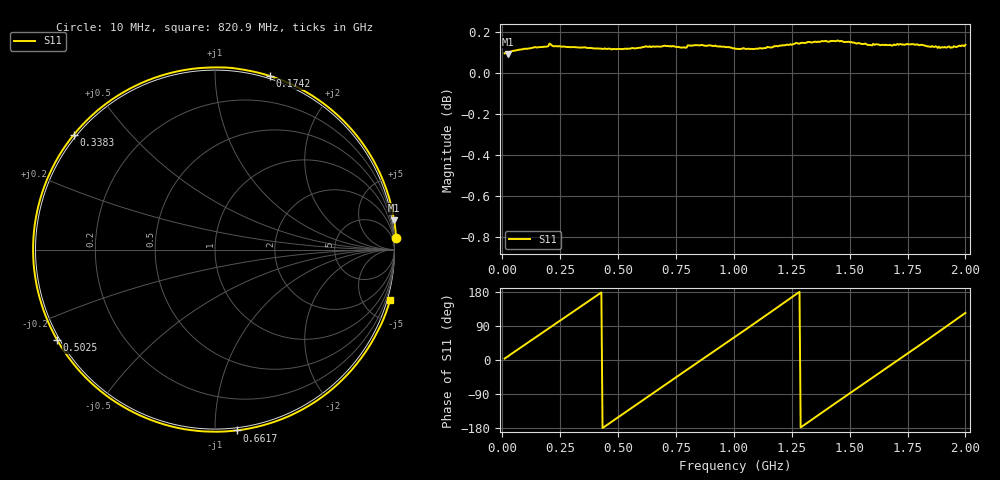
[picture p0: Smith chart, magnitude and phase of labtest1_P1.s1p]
!Created with skrf (http://scikit-rf.org).
# Hz S RI R 50.0
!freq ReS11 ImS11
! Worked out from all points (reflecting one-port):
!   401 points, 10 MHz to 2 GHz, reference 50 ohm
!   lowest |S11| = 0.1 dB at 24.93 MHz (marker M1)
!   phase of S11 starts at 4 deg and turns +840 deg over the sweep
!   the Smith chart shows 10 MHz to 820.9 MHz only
!   S11 on the Smith chart (normalised r, x): 10 MHz: -5, +29; 174.2 MHz: -0.02, +1.37; 338.4 MHz: -0.01, +0.36; 502.5 MHz: -0.01, -0.27; 661.7 MHz: -0.02, -1.13; 820.9 MHz: -0.39, -7.09
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1e7  1.009 0.0669
2.4925e7  0.9971 0.164
9.4575e7  0.7855 0.6405
1.74175e8  0.3067 0.967
2.5875e8  -0.3076 0.967
3.3835e8  -0.7867 0.64
4.22925e8  -1.011 0.0663
5.02525e8  -0.88 -0.5026
5.075e8  -0.861 -0.5345
5.871e8  -0.4201 -0.9228
6.61725e8  0.1225 -1.007
7.5625e8  0.7397 -0.6943
8.20925e8  0.9761 -0.2798
9.10475e8  0.9449 0.371
1.005e9  0.4903 0.8871
1.0647e9  0.0663 1.011
1.1244e9  -0.3735 0.9424
1.19405e9  -0.7935 0.633
1.25375e9  -0.9903 0.2271
1.3632e9  -0.8441 -0.5684
1.437825e9  -0.4206 -0.9269
1.5025e9  0.0501 -1.016
1.567175e9  0.5066 -0.8813
1.636825e9  0.8703 -0.5236
1.75125e9  0.9706 0.3008
1.8806e9  0.3032 0.9676
1.935325e9  -0.1114 1.008
2e9  -0.5706 0.8404
